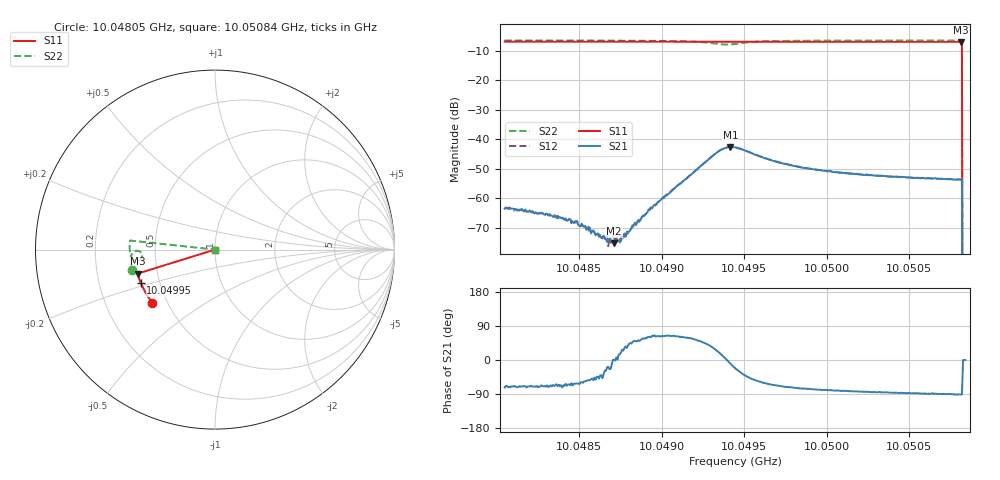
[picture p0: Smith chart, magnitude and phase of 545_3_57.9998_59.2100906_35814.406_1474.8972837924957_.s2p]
#  HZ  S  RI  R  50.00
! Rohde & Schwarz Vector Network Analyzer
! Rohde-Schwarz,ZNB20-2Port,1311601062101988,3.16
! Created: UTC 3/21/2024, 1:14:46 AM
! freq[Hz]  re:S11  im:S11  re:S21  im:S21  re:S12  im:S12  re:S22  im:S22
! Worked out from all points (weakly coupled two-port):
!   401 points, 10.04805 GHz to 10.05084 GHz, reference 50 ohm
!   highest |S21| = -42.58 dB at 10.04942 GHz (marker M1); lowest = -75.3 dB at 10.04871 GHz (marker M2)
!   lowest |S11| = -6.9 dB at 10.05081 GHz (marker M3), VSWR 2.65, Z = 19.2 - j6.51 ohm
!   |S11| at or under -10 dB: 10.05082 GHz to end of sweep
!   |S22| runs from - to -6.4 dB; largest |S21 - S12| = 0.00059
!   S11 on the Smith chart (normalised r, x): 10.04805 GHz: 0.41, -0.31; 10.04995 GHz: 0.39, -0.18; 10.05084 GHz: 1.00, +0.00
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1.0048046e10  -0.3492 -0.2947  0.000198 -0.000633  0.000264 -0.000628  -0.4633 -0.1158
1.0048158e10  -0.3537 -0.289  0.000209 -0.000577  0.000254 -0.000577  -0.4653 -0.1079
1.004836e10  -0.3618 -0.2783  0.000205 -0.00042  0.000233 -0.000431  -0.4676 -0.0936
1.0048472e10  -0.3661 -0.2723  0.000183 -0.000357  0.000195 -0.00033  -0.4689 -0.0855
1.0048514e10  -0.3675 -0.2699  0.000179 -0.000291  0.000198 -0.000313  -0.4692 -0.0824
1.0048682e10  -0.3737 -0.2609  0.000192 -8.53e-05  0.000204 -6.22e-05  -0.4703 -0.0693
1.004871e10  -0.3747 -0.2593  0.000172 1.99e-06  0.000211 -2.13e-05  -0.4704 -0.067
1.0048731e10  -0.3755 -0.2581  0.000185 3.07e-06  0.000192 2.44e-05  -0.4704 -0.0652
1.0048745e10  -0.376 -0.2573  0.000171 4.66e-05  0.000181 8.4e-05  -0.4705 -0.0639
1.0048787e10  -0.3776 -0.255  0.000228 0.00014  0.000188 0.000156  -0.4705 -0.0605
1.0048822e10  -0.3789 -0.2531  0.000236 0.000255  0.000208 0.000246  -0.4704 -0.0573
1.0048983e10  -0.3843 -0.244  0.000401 0.000783  0.000365 0.000808  -0.469 -0.0418
1.0049325e10  -0.3947 -0.2242  0.00507 0.00265  0.00492 0.00299  -0.4227 -0.00827
1.0049416e10  -0.3973 -0.2192  0.00732 -0.00127  0.0074 -0.000691  -0.4068 -0.0428
1.0049444e10  -0.3983 -0.2177  0.00682 -0.00263  0.00703 -0.00218  -0.4134 -0.0538
1.0049709e10  -0.4064 -0.2023  0.0015 -0.00376  0.00175 -0.00369  -0.4668 -0.0404
1.0049912e10  -0.4119 -0.1901  0.000679 -0.00303  0.00087 -0.00299  -0.4734 -0.0189
1.0049954e10  -0.4129 -0.1875  0.000616 -0.00295  0.000792 -0.0029  -0.474 -0.0151
1.005038e10  -0.4232 -0.1616  0.000154 -0.00233  0.000307 -0.00233  -0.4755 0.0191
1.0050807e10  -0.4317 -0.1349  -1.67e-05 -0.00209  8.56e-05 -0.00209  -0.4734 0.0496
1.0050814e10  -0.4317 -0.1345  -4.8e-05 -0.00205  0.000111 -0.0021  -0.4732 0.05
1.0050842e10  0 0  0 0  0 0  0 0
